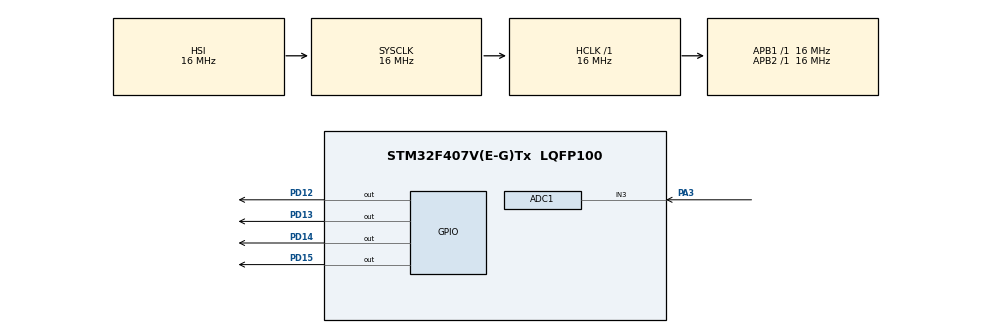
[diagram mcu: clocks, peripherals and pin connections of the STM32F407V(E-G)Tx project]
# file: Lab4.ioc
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ADC1.Channel-0\#ChannelRegularConversion=ADC_CHANNEL_3
ADC1.ClockPrescaler=ADC_CLOCK_SYNC_PCLK_DIV8
ADC1.NbrOfConversionFlag=1
ADC1.Rank-0\#ChannelRegularConversion=1
ADC1.SamplingTime-0\#ChannelRegularConversion=ADC_SAMPLETIME_480CYCLES
ADC1.master=1
Mcu.Family=STM32F4
Mcu.Name=STM32F407V(E-G)Tx
Mcu.Package=LQFP100
NVIC.ADC_IRQn=true\:0\:0\:false\:false\:true\:true\:true\:true
NVIC.PriorityGroup=NVIC_PRIORITYGROUP_4
PA3.Signal=ADCx_IN3
PD12.Signal=GPIO_Output
PD13.Signal=GPIO_Output
PD14.Signal=GPIO_Output
PD15.Signal=GPIO_Output
ProjectManager.HeapSize=0x200
ProjectManager.StackSize=0x400
ProjectManager.TargetToolchain=STM32CubeIDE
RCC.AHBFreq_Value=16000000
RCC.APB1Freq_Value=16000000
RCC.APB2Freq_Value=16000000
RCC.CortexFreq_Value=16000000
RCC.HSE_VALUE=25000000
RCC.HSI_VALUE=16000000
RCC.LSE_VALUE=32768
RCC.SYSCLKFreq_VALUE=16000000
RCC.VCOOutputFreq_Value=192000000
SH.ADCx_IN3.0=ADC1_IN3,IN3
board=custom

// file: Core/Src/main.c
/* USER CODE BEGIN Header */
/**
  ******************************************************************************
  * @file           : main.c
  * @brief          : Main program body
  ******************************************************************************
  * @attention
  *
  * Copyright (c) 2023 STMicroelectronics.
  * All rights reserved.
  *
  * This software is licensed under terms that can be found in the LICENSE file
  * in the root directory of this software component.
  * If no LICENSE file comes with this software, it is provided AS-IS.
  *
  ******************************************************************************
  */
/* USER CODE END Header */
#include "main.h"

ADC_HandleTypeDef hadc1;

void SystemClock_Config(void);
static void MX_GPIO_Init(void);
static void MX_ADC1_Init(void);
/* USER CODE BEGIN PFP */

void HAL_ADC_ConvCpltCallback(ADC_HandleTypeDef* hadc)
{
	  uint32_t adcValue;

	  if (hadc->Instance == ADC1)
	  {
		  adcValue = HAL_ADC_GetValue(&hadc1);
		  if (adcValue < 820){
				HAL_GPIO_WritePin(GPIOD, GPIO_PIN_12, GPIO_PIN_RESET);
				HAL_GPIO_WritePin(GPIOD, GPIO_PIN_13, GPIO_PIN_RESET);
				HAL_GPIO_WritePin(GPIOD, GPIO_PIN_14, GPIO_PIN_RESET);
				HAL_GPIO_WritePin(GPIOD, GPIO_PIN_15, GPIO_PIN_RESET);
		  }
		  else if (adcValue >=820 && adcValue < 1640){
				HAL_GPIO_WritePin(GPIOD, GPIO_PIN_12, GPIO_PIN_SET);
				HAL_GPIO_WritePin(GPIOD, GPIO_PIN_13, GPIO_PIN_RESET);
				HAL_GPIO_WritePin(GPIOD, GPIO_PIN_14, GPIO_PIN_RESET);
				HAL_GPIO_WritePin(GPIOD, GPIO_PIN_15, GPIO_PIN_RESET);
		  }
		  else if (adcValue >= 1640 && adcValue < 2460){
				  HAL_GPIO_WritePin(GPIOD, GPIO_PIN_12, GPIO_PIN_SET);
				  HAL_GPIO_WritePin(GPIOD, GPIO_PIN_13, GPIO_PIN_SET);
				  HAL_GPIO_WritePin(GPIOD, GPIO_PIN_14, GPIO_PIN_RESET);
				  HAL_GPIO_WritePin(GPIOD, GPIO_PIN_15, GPIO_PIN_RESET);
		  }
		  else if (adcValue >= 2460 && adcValue < 3280){
				  HAL_GPIO_WritePin(GPIOD, GPIO_PIN_12, GPIO_PIN_SET);
				  HAL_GPIO_WritePin(GPIOD, GPIO_PIN_13, GPIO_PIN_SET);
				  HAL_GPIO_WritePin(GPIOD, GPIO_PIN_14, GPIO_PIN_SET);
				  HAL_GPIO_WritePin(GPIOD, GPIO_PIN_15, GPIO_PIN_RESET);
		  }
		  else{
				  HAL_GPIO_WritePin(GPIOD, GPIO_PIN_12, GPIO_PIN_SET);
				  HAL_GPIO_WritePin(GPIOD, GPIO_PIN_13, GPIO_PIN_SET);
				  HAL_GPIO_WritePin(GPIOD, GPIO_PIN_14, GPIO_PIN_RESET);
				  HAL_GPIO_WritePin(GPIOD, GPIO_PIN_15, GPIO_PIN_SET);
		  }
		  HAL_ADC_Start_IT(&hadc1);
	  }
}
/* USER CODE END PFP */

int main(void)
{

  /* MCU Configuration--------------------------------------------------------*/

  /* Reset of all peripherals, Initializes the Flash interface and the Systick. */
  HAL_Init();

  /* Configure the system clock */
  SystemClock_Config();

  /* Initialize all configured peripherals */
  MX_GPIO_Init();
  MX_ADC1_Init();

  /* Infinite loop */
  /* USER CODE BEGIN WHILE */

  HAL_ADC_Start_IT(&hadc1);

  while (1)
  {
    /* USER CODE END WHILE */

  }
}

void SystemClock_Config(void)
{
  RCC_OscInitTypeDef RCC_OscInitStruct = {0};
  RCC_ClkInitTypeDef RCC_ClkInitStruct = {0};

  /** Configure the main internal regulator output voltage
  */
  __HAL_RCC_PWR_CLK_ENABLE();
  __HAL_PWR_VOLTAGESCALING_CONFIG(PWR_REGULATOR_VOLTAGE_SCALE1);

  /** Initializes the RCC Oscillators according to the specified parameters
  * in the RCC_OscInitTypeDef structure.
  */
  RCC_OscInitStruct.OscillatorType = RCC_OSCILLATORTYPE_HSI;
  RCC_OscInitStruct.HSIState = RCC_HSI_ON;
  RCC_OscInitStruct.HSICalibrationValue = RCC_HSICALIBRATION_DEFAULT;
  RCC_OscInitStruct.PLL.PLLState = RCC_PLL_NONE;
  if (HAL_RCC_OscConfig(&RCC_OscInitStruct) != HAL_OK)
  {
    Error_Handler();
  }

  /** Initializes the CPU, AHB and APB buses clocks
  */
  RCC_ClkInitStruct.ClockType = RCC_CLOCKTYPE_HCLK|RCC_CLOCKTYPE_SYSCLK
                              |RCC_CLOCKTYPE_PCLK1|RCC_CLOCKTYPE_PCLK2;
  RCC_ClkInitStruct.SYSCLKSource = RCC_SYSCLKSOURCE_HSI;
  RCC_ClkInitStruct.AHBCLKDivider = RCC_SYSCLK_DIV1;
  RCC_ClkInitStruct.APB1CLKDivider = RCC_HCLK_DIV1;
  RCC_ClkInitStruct.APB2CLKDivider = RCC_HCLK_DIV1;

  if (HAL_RCC_ClockConfig(&RCC_ClkInitStruct, FLASH_LATENCY_0) != HAL_OK)
  {
    Error_Handler();
  }
}

static void MX_ADC1_Init(void)
{

  ADC_ChannelConfTypeDef sConfig = {0};

  /** Configure the global features of the ADC (Clock, Resolution, Data Alignment and number of conversion)
  */
  hadc1.Instance = ADC1;
  hadc1.Init.ClockPrescaler = ADC_CLOCK_SYNC_PCLK_DIV8;
  hadc1.Init.Resolution = ADC_RESOLUTION_12B;
  hadc1.Init.ScanConvMode = DISABLE;
  hadc1.Init.ContinuousConvMode = DISABLE;
  hadc1.Init.DiscontinuousConvMode = DISABLE;
  hadc1.Init.ExternalTrigConvEdge = ADC_EXTERNALTRIGCONVEDGE_NONE;
  hadc1.Init.ExternalTrigConv = ADC_SOFTWARE_START;
  hadc1.Init.DataAlign = ADC_DATAALIGN_RIGHT;
  hadc1.Init.NbrOfConversion = 1;
  hadc1.Init.DMAContinuousRequests = DISABLE;
  hadc1.Init.EOCSelection = ADC_EOC_SINGLE_CONV;
  if (HAL_ADC_Init(&hadc1) != HAL_OK)
  {
    Error_Handler();
  }

  /** Configure for the selected ADC regular channel its corresponding rank in the sequencer and its sample time.
  */
  sConfig.Channel = ADC_CHANNEL_3;
  sConfig.Rank = 1;
  sConfig.SamplingTime = ADC_SAMPLETIME_480CYCLES;
  if (HAL_ADC_ConfigChannel(&hadc1, &sConfig) != HAL_OK)
  {
    Error_Handler();
  }

}

static void MX_GPIO_Init(void)
{
  GPIO_InitTypeDef GPIO_InitStruct = {0};

  /* GPIO Ports Clock Enable */
  __HAL_RCC_GPIOA_CLK_ENABLE();
  __HAL_RCC_GPIOD_CLK_ENABLE();

  /*Configure GPIO pin Output Level */
  HAL_GPIO_WritePin(GPIOD, GPIO_PIN_12|GPIO_PIN_13|GPIO_PIN_14|GPIO_PIN_15, GPIO_PIN_RESET);

  /*Configure GPIO pins : PD12 PD13 PD14 PD15 */
  GPIO_InitStruct.Pin = GPIO_PIN_12|GPIO_PIN_13|GPIO_PIN_14|GPIO_PIN_15;
  GPIO_InitStruct.Mode = GPIO_MODE_OUTPUT_PP;
  GPIO_InitStruct.Pull = GPIO_NOPULL;
  GPIO_InitStruct.Speed = GPIO_SPEED_FREQ_LOW;
  HAL_GPIO_Init(GPIOD, &GPIO_InitStruct);

}

void Error_Handler(void)
{
  __disable_irq();
  while (1)
  {
  }
}
